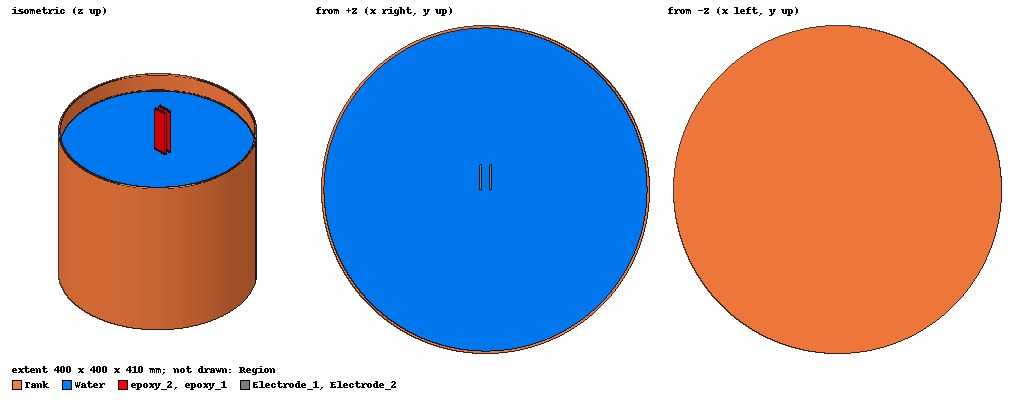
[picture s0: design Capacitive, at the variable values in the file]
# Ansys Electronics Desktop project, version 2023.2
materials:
  vacuum: permittivity=1
  PVC plastic: permittivity=2.7 dielectric_loss_tangent=0.007
  water_fresh: permittivity=81 permeability=0.999991 conductivity=0.01
  aluminum: permeability=1.000021 conductivity=38000000
  modified_epoxy: permittivity=4.2 dielectric_loss_tangent=0.02

design Capacitive (Maxwell 3D, Electrostatic, model units mm)
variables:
  R_Tank_out = 200mm
  H_Tank = 350mm
  R_Tank_in = R_Tank_out - 0.003
  H_Water = 300mm
  Electrode_t = 2mm
  Electrode_w = 30mm
  Electrode_h = 400mm
  gap = 10mm
  Tank_Bottom_t = 10mm
  insulator_t = 1mm
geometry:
  Tank [PVC plastic] = cylinder(axis=Z, base_centre=(0mm, 0mm, 0mm), radius=R_Tank_out, height=H_Tank)
  Cylinder1 = cylinder(axis=Z, base_centre=(0mm, 0mm, Tank_Bottom_t), radius=R_Tank_in, height=400mm)
  Tank.subtract(Cylinder1)
  Water [water_fresh] = cylinder(axis=Z, base_centre=(0mm, 0mm, Tank_Bottom_t), radius=R_Tank_in, height=H_Water)
  Electrode_1 [aluminum] = box(corner=(-(1/2)*gap-Electrode_t, 0mm, Tank_Bottom_t), size=(Electrode_t, Electrode_w, Electrode_h))
  Box1 = box(corner=(gap/2 - insulator_t/2, -insulator_t/2, Tank_Bottom_t), size=(Electrode_t + insulator_t, Electrode_w + insulator_t, Electrode_h))
  Box2 = box(corner=(-(1/2)*gap-Electrode_t - insulator_t/2, -insulator_t/2, Tank_Bottom_t), size=(Electrode_t + insulator_t, Electrode_w + insulator_t, Electrode_h))
  Box1.unite(Box2)
  Water.subtract(Box1)
  Electrode_2 [aluminum] = box(corner=(gap/2, 0mm, Tank_Bottom_t), size=(Electrode_t, Electrode_w, Electrode_h))
  epoxy_2 [modified_epoxy] = box(corner=(gap/2 - insulator_t/2, -insulator_t/2, Tank_Bottom_t), size=(Electrode_t + insulator_t, Electrode_w + insulator_t, Electrode_h))
  Electrode_3 = box(corner=(gap/2, 0mm, Tank_Bottom_t), size=(Electrode_t, Electrode_w, Electrode_h))
  epoxy_2.subtract(Electrode_3)
  epoxy_1 [modified_epoxy] = box(corner=(-(1/2)*gap-Electrode_t- insulator_t/2, -insulator_t/2, Tank_Bottom_t), size=(Electrode_t + insulator_t, Electrode_w + insulator_t, Electrode_h))
  Electrode_4 = box(corner=(gap/2, 0mm, Tank_Bottom_t), size=(Electrode_t, Electrode_w, Electrode_h))
  epoxy_1.subtract(Electrode_4)
  Region [vacuum] = region(percentage_offset: +X=100, -X=100, +Y=100, -Y=100, +Z=200, -Z=200)
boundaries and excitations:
  V+: Voltage Objects=Electrode_2 Voltage=5V
  V-: Voltage Objects=Electrode_1 Voltage=0V
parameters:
  Capacitor: Matrix V+, V-: NumberOfTurns=1
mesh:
  initial mesh: GlobalCurvilinear{Apply}
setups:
  Setup1: Electrostatic MaximumPasses=10 MinimumPasses=2 MinimumConvergedPasses=1 PercentRefinement=30 PercentError=1 NonLinearResidual=0.001
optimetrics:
  Water Level: Parametric Sim._Setups=[Setup1]
    sweep H_Water: LIN 0mm 300mm 30mm
  Gap: Parametric Sim._Setups=[Setup1]
    sweep gap: LIN 0mm 10mm 1mm
  Electrode Thickness: Parametric Sim._Setups=[Setup1]
    sweep Electrode_t: LIN 5mm 15mm 1mm
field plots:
  Mag_E1: E in Electrode_1 on Setup1 : LastAdaptive
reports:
  C / Water Level: mag(C(V+,V+)) vs H_Water on Setup1 : LastAdaptive
  C / Thickness: mag(C(V+,V+)) vs Electrode_t on Setup1 : LastAdaptive [H_Tank=all H_Water=all Electrode_h=all gap=all]
  C / Gap: mag(C(V+,V+)) vs gap on Setup1 : LastAdaptive [H_Tank=all H_Water=all Electrode_t=all Electrode_h=all]
